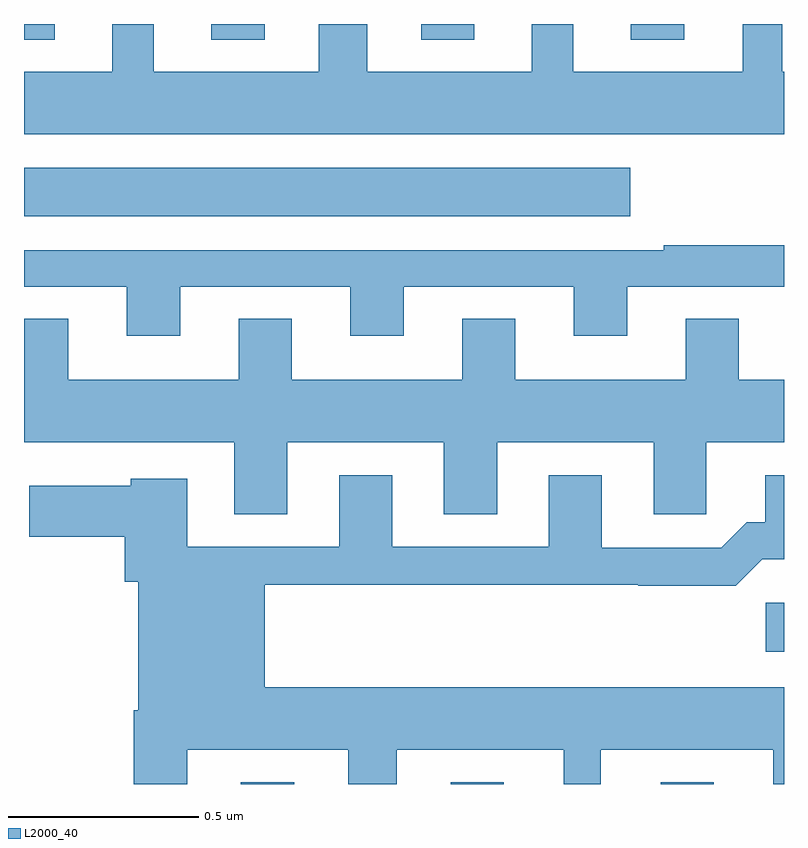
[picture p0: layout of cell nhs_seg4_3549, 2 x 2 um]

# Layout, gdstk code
import gdstk
lib = gdstk.Library(unit=1e-6, precision=1e-09)
def R(c, l, rs):  # rectangles x0, y0, x1, y1
    for r in rs: c.add(gdstk.rectangle(r[:2], r[2:], *l))
def A(c, l, x, y, w, h, nx, ny, dx, dy):  # array of equal rectangles
    R(c, l, [(x+i*dx, y+j*dy, x+i*dx+w, y+j*dy+h) for i in range(nx) for j in range(ny)])
def P(c, l, *ps):  # polygons
    for p in ps: c.add(gdstk.Polygon(p, *l))
L2000_40 = (2000, 40)

nhs_seg4_3549 = lib.new_cell('nhs_seg4_3549')
A(nhs_seg4_3549, L2000_40, 154.571, 815.9, 0.14, 0.005, 3, 1, 0.552, 0)
A(nhs_seg4_3549, L2000_40, 154.493, 817.859, 0.14, 0.041, 3, 1, 0.552, 0)
R(nhs_seg4_3549, L2000_40, [(155.952,816.248,156,816.377), (154,817.394,155.596,817.522), (154,817.859,154.081,817.9)])
P(nhs_seg4_3549, L2000_40, [(156,817.774),(155.995,817.774),(155.995,817.9),(155.891,817.9),(155.891,817.774),(155.446,817.774),(155.446,817.9),(155.336,817.9),(155.336,817.774),(154.903,817.774),(154.903,817.9),(154.775,817.9),(154.775,817.774),(154.342,817.774),(154.342,817.9),(154.232,817.9),(154.232,817.774),(154,817.774),(154,817.61),(156,817.61)],
  [(154.411,817.209),(154.859,817.209),(154.859,817.08),(154.999,817.08),(154.999,817.209),(155.447,817.209),(155.447,817.08),(155.587,817.08),(155.587,817.209),(156,817.209),(156,817.318),(155.683,817.318),(155.683,817.305),(154,817.305),(154,817.209),(154.271,817.209),(154.271,817.08),(154.411,817.08)],
  [(154.693,816.8),(155.105,816.8),(155.105,816.61),(155.245,816.61),(155.245,816.8),(155.657,816.8),(155.657,816.61),(155.796,816.61),(155.796,816.8),(156,816.8),(156,816.964),(155.881,816.964),(155.881,817.124),(155.741,817.124),(155.741,816.964),(155.293,816.964),(155.293,817.124),(155.153,817.124),(155.153,816.964),(154.705,816.964),(154.705,817.124),(154.565,817.124),(154.565,816.964),(154.117,816.964),(154.117,817.124),(154,817.124),(154,816.8),(154.553,816.8),(154.553,816.61),(154.693,816.61)],
  [(154.429,815.99),(154.853,815.99),(154.853,815.9),(154.981,815.9),(154.981,815.99),(155.42,815.99),(155.42,815.9),(155.518,815.9),(155.518,815.99),(155.972,815.99),(155.972,815.9),(156,815.9),(156,816.154),(154.633,816.154),(154.633,816.424),(155.617,816.424),(155.617,816.422),(155.873,816.422),(155.943,816.492),(156,816.492),(156,816.712),(155.951,816.712),(155.951,816.589),(155.902,816.589),(155.835,816.522),(155.521,816.522),(155.521,816.712),(155.381,816.712),(155.381,816.525),(154.969,816.525),(154.969,816.712),(154.829,816.712),(154.829,816.525),(154.429,816.525),(154.429,816.703),(154.281,816.703),(154.281,816.685),(154.014,816.685),(154.014,816.551),(154.265,816.551),(154.265,816.432),(154.301,816.432),(154.301,816.094),(154.289,816.094),(154.289,815.9),(154.429,815.9)])

lib.write_gds('nhs_seg4_3549.gds')
